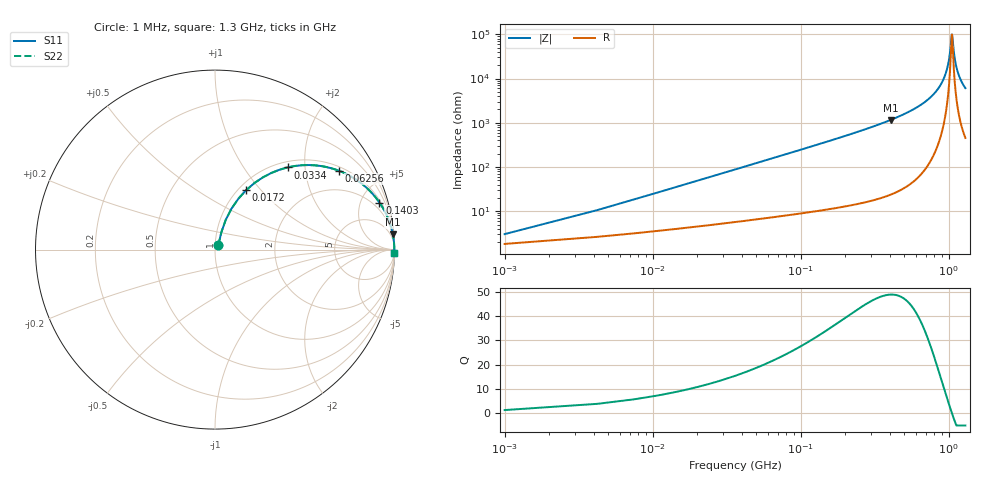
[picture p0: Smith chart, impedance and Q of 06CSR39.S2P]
! Coilcraft 0603CS-R39 Chip Inductor
! 21 May 2002
# MHZ S MA R 50
!Freq  MagS11  AngS11  MagS21  AngS21  MagS12  AngS12  MagS22  AngS22
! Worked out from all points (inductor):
!   402 points, 1 MHz to 1.3 GHz, reference 50 ohm
!   read as one part in series: L = 386 nH near 7.48 MHz
!   highest Q = 48.9 at 406 MHz (marker M1), where L = 453 nH
!   self-resonance near 1.054 GHz
!   S11 on the Smith chart (normalised r, x): 1 MHz: 1.04, +0.05; 17.2 MHz: 1.08, +0.83; 33.4 MHz: 1.11, +1.62; 62.56 MHz: 1.14, +3.05; 140.3 MHz: 1.21, +6.93; 1.3 GHz: open
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1  0.02978 51.7  0.9818 -1.4  0.9818 -1.4  0.02978 51.7
10.72  0.2458 68.1  0.9365 -14.1  0.9365 -14.1  0.2458 68.1
17.2  0.3735 62.4  0.8906 -21.8  0.8906 -21.8  0.3735 62.4
33.4  0.6108 48.6  0.7515 -37.5  0.7515 -37.5  0.6108 48.6
62.56  0.8186 32.4  0.5371 -54.9  0.5371 -54.9  0.8186 32.4
94.96  0.9063 22.9  0.3901 -64.9  0.3901 -64.9  0.9063 22.9
140.32  0.9531 16.0  0.275 -72.3  0.275 -72.3  0.9531 16.0
218.08  0.9798 10.2  0.1773 -78.4  0.1773 -78.4  0.9798 10.2
406  0.9945 4.9  0.08602 -83.9  0.08602 -83.9  0.9945 4.9
435.16  0.9953 4.5  0.07825 -84.3  0.07825 -84.3  0.9953 4.5
652.24  0.9982 2.2  0.03897 -86.2  0.03897 -86.2  0.9982 2.2
869.32  0.9989 0.9  0.01522 -85.6  0.01522 -85.6  0.9989 0.9
937.36  0.999 0.5  0.00928 -83.6  0.00928 -83.6  0.999 0.5
985.96  0.999 0.3  0.005356 -79.3  0.005356 -79.3  0.999 0.3
1015.12  0.999 0.2  0.003146 -71.6  0.003146 -71.6  0.999 0.2
1054  0.999 0.0  0.001008 -3.0  0.001008 -3.0  0.999 0.0
1063.72  0.999 -0.0  0.001211 33.2  0.001211 33.2  0.999 -0.0
1086.4  0.999 -0.1  0.00253 65.9  0.00253 65.9  0.999 -0.1
1118.8  0.9989 -0.3  0.004726 76.9  0.004726 76.9  0.9989 -0.3
1160.92  0.9989 -0.4  0.007579 81.3  0.007579 81.3  0.9989 -0.4
1222.48  0.9988 -0.7  0.01162 83.7  0.01162 83.7  0.9988 -0.7
1300  0.9986 -0.9  0.01648 84.8  0.01648 84.8  0.9986 -0.9
